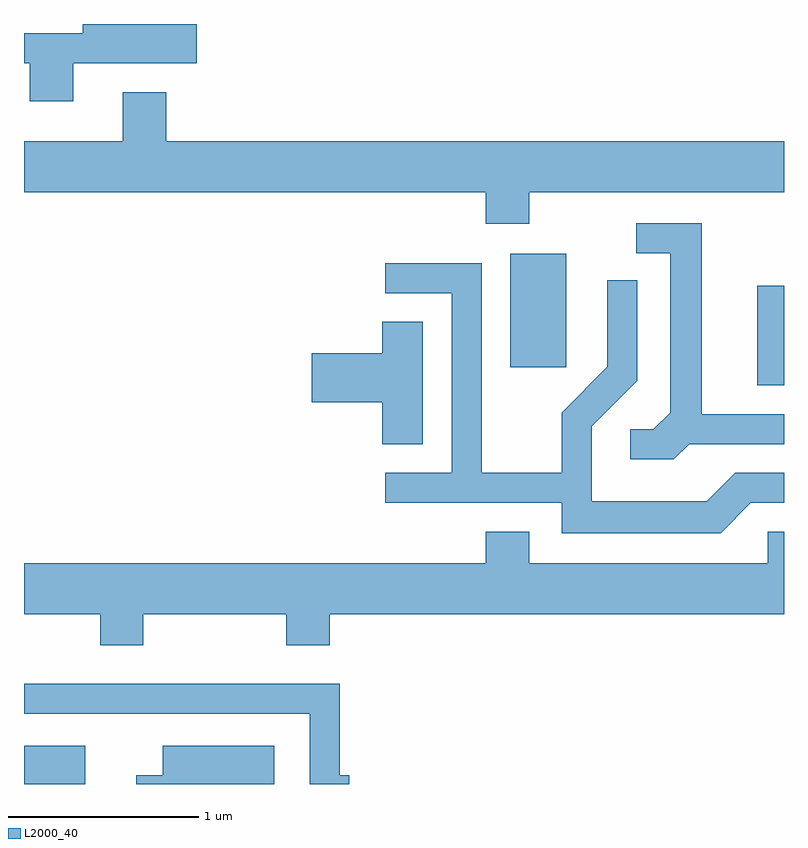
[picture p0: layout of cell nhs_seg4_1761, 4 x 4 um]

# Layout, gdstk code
import gdstk
lib = gdstk.Library(unit=1e-6, precision=1e-09)
def R(c, l, rs):  # rectangles x0, y0, x1, y1
    for r in rs: c.add(gdstk.rectangle(r[:2], r[2:], *l))
def P(c, l, *ps):  # polygons
    for p in ps: c.add(gdstk.Polygon(p, *l))
L2000_40 = (2000, 40)

nhs_seg4_1761 = lib.new_cell('nhs_seg4_1761')
R(nhs_seg4_1761, L2000_40, [(235.611,1375.982,235.934,1376.184), (239.471,1378.081,239.611,1378.604), (238.171,1378.176,238.464,1378.774)])
P(nhs_seg4_1761, L2000_40, [(235.869,1379.776),(236.519,1379.776),(236.519,1379.982),(235.921,1379.982),(235.921,1379.934),(235.611,1379.934),(235.611,1379.776),(235.641,1379.776),(235.641,1379.576),(235.869,1379.576)],
  [(238.269,1379.096),(239.611,1379.096),(239.611,1379.364),(236.359,1379.364),(236.359,1379.624),(236.131,1379.624),(236.131,1379.364),(235.611,1379.364),(235.611,1379.096),(238.041,1379.096),(238.041,1378.931),(238.269,1378.931)],
  [(239.112,1377.771),(239.611,1377.771),(239.611,1377.929),(239.179,1377.929),(239.179,1378.934),(238.833,1378.934),(238.833,1378.776),(239.011,1378.776),(239.011,1377.937),(238.924,1377.849),(238.803,1377.849),(238.803,1377.691),(239.032,1377.691)],
  [(239.437,1377.461),(239.611,1377.461),(239.611,1377.619),(239.354,1377.619),(239.204,1377.469),(238.599,1377.469),(238.599,1377.864),(238.839,1378.104),(238.839,1378.633),(238.681,1378.633),(238.681,1378.177),(238.441,1377.937),(238.441,1377.619),(238.019,1377.619),(238.019,1378.724),(237.513,1378.724),(237.513,1378.566),(237.861,1378.566),(237.861,1377.619),(237.513,1377.619),(237.513,1377.461),(238.441,1377.461),(238.441,1377.301),(239.277,1377.301)],
  [(237.709,1378.414),(237.496,1378.414),(237.496,1378.249),(237.126,1378.249),(237.126,1377.991),(237.496,1377.991),(237.496,1377.771),(237.709,1377.771)],
  [(239.611,1377.309),(239.526,1377.309),(239.526,1377.144),(238.269,1377.144),(238.269,1377.309),(238.041,1377.309),(238.041,1377.144),(235.611,1377.144),(235.611,1376.876),(236.011,1376.876),(236.011,1376.711),(236.239,1376.711),(236.239,1376.876),(236.991,1376.876),(236.991,1376.711),(237.219,1376.711),(237.219,1376.876),(239.611,1376.876)],
  [(237.324,1376.029),(237.274,1376.029),(237.274,1376.509),(235.611,1376.509),(235.611,1376.351),(237.116,1376.351),(237.116,1375.982),(237.324,1375.982)],
  [(236.929,1376.184),(236.341,1376.184),(236.341,1376.029),(236.201,1376.029),(236.201,1375.982),(236.929,1375.982)])

lib.write_gds('nhs_seg4_1761.gds')
